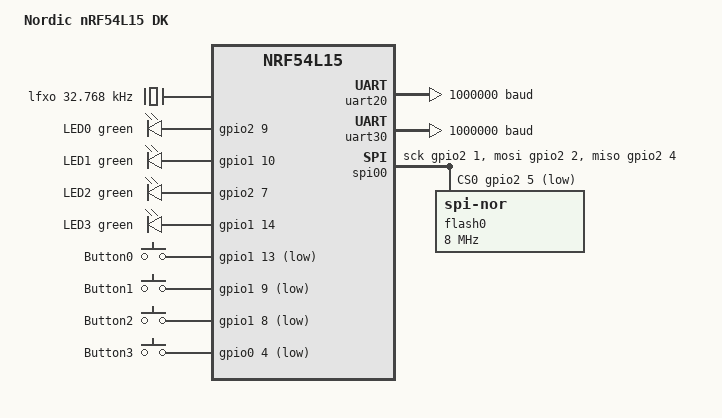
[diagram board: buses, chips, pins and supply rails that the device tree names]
// SPDX-FileCopyrightText: 2026 Core Devices LLC
// SPDX-License-Identifier: (GPL-2.0-only OR BSD-2-Clause)

// The kit, as both cores see it; each core's tree enables what it drives

#include <dt-bindings/gpio/gpio.h>
#include <dt-bindings/input/input.h>
#include <dt-bindings/leds/common.h>

/ {
	model = "Nordic nRF54L15 DK";
	compatible = "nordic,nrf54l15-dk", "nordic,nrf54l15";

	lfxo: clock-32768 {
		compatible = "fixed-clock";
		#clock-cells = <0>;
		clock-frequency = <32768>;
	};

	leds: leds {
		compatible = "gpio-leds";

		led0: led-0 {
			label = "LED0";
			color = <LED_COLOR_ID_GREEN>;
			gpios = <&gpio2 9 GPIO_ACTIVE_HIGH>;
		};

		led1: led-1 {
			label = "LED1";
			color = <LED_COLOR_ID_GREEN>;
			gpios = <&gpio1 10 GPIO_ACTIVE_HIGH>;
		};

		led2: led-2 {
			label = "LED2";
			color = <LED_COLOR_ID_GREEN>;
			gpios = <&gpio2 7 GPIO_ACTIVE_HIGH>;
		};

		led3: led-3 {
			label = "LED3";
			color = <LED_COLOR_ID_GREEN>;
			gpios = <&gpio1 14 GPIO_ACTIVE_HIGH>;
		};
	};

	// Buttons 0 to 3, as the four buttons of a watch
	buttons: gpio-keys {
		compatible = "gpio-keys";

		button-0 {
			label = "Button0";
			gpios = <&gpio1 13 (GPIO_ACTIVE_LOW | GPIO_PULL_UP)>;
			linux,code = <KEY_0>;
			debounce-interval = <40>;
			wakeup-source;
		};

		button-1 {
			label = "Button1";
			gpios = <&gpio1 9 (GPIO_ACTIVE_LOW | GPIO_PULL_UP)>;
			linux,code = <KEY_1>;
			debounce-interval = <40>;
		};

		button-2 {
			label = "Button2";
			gpios = <&gpio1 8 (GPIO_ACTIVE_LOW | GPIO_PULL_UP)>;
			linux,code = <KEY_2>;
			debounce-interval = <40>;
		};

		button-3 {
			label = "Button3";
			gpios = <&gpio0 4 (GPIO_ACTIVE_LOW | GPIO_PULL_UP)>;
			linux,code = <KEY_3>;
			debounce-interval = <40>;
		};
	};
};

&clock {
	clocks = <&hfxo>, <&lfxo>;
	clock-names = "hfxo", "lfxo";
	nordic,hfxo-load-capacitance-femtofarads = <15000>;
	nordic,lfxo-load-capacitance-femtofarads = <17000>;
};

// The interface MCU's virtual COM port 0
&uart20 {
	current-speed = <1000000>;
	tx-gpios = <&gpio1 4 GPIO_ACTIVE_HIGH>;
	rx-gpios = <&gpio1 5 GPIO_ACTIVE_HIGH>;
};

// The interface MCU's virtual COM port 1
&uart30 {
	current-speed = <1000000>;
	tx-gpios = <&gpio0 0 GPIO_ACTIVE_HIGH>;
	rx-gpios = <&gpio0 1 GPIO_ACTIVE_HIGH>;
};

// Macronix MX25R6435F, 8 MiB
&spi00 {
	sck-gpios = <&gpio2 1 GPIO_ACTIVE_HIGH>;
	mosi-gpios = <&gpio2 2 GPIO_ACTIVE_HIGH>;
	miso-gpios = <&gpio2 4 GPIO_ACTIVE_HIGH>;
	cs-gpios = <&gpio2 5 GPIO_ACTIVE_LOW>;

	flash0: flash@0 {
		compatible = "jedec,spi-nor";
		reg = <0>;
		spi-max-frequency = <8000000>;
	};
};

// The DC/DC inductor is fitted
&vregmain {
	regulator-initial-mode = <NRF54L15_REGULATOR_MODE_DCDC>;
};
